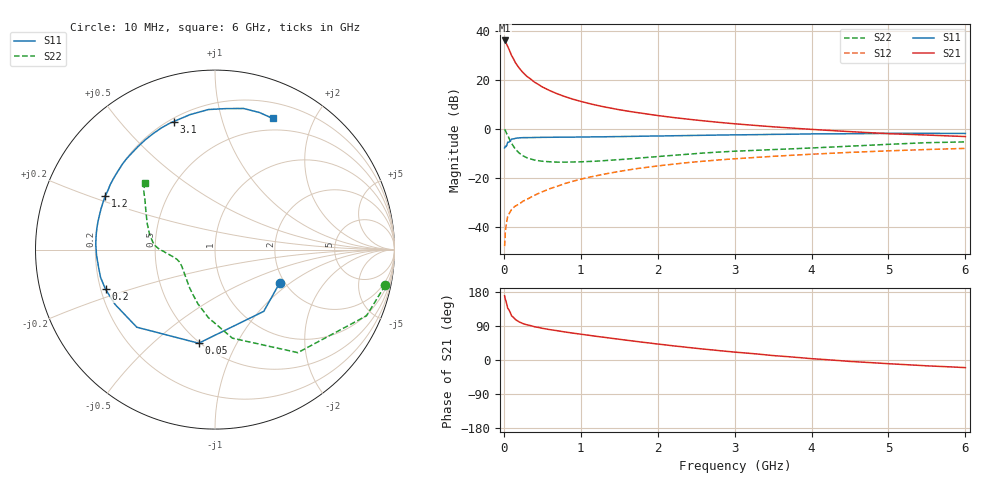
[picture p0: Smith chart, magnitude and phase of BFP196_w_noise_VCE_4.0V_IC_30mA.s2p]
! Infineon Technologies  Discrete & RF Semiconductors
! BFP196
! VCE =  4.0 V,  IC =  30 mA
! Common Emitter S-Parameters:  Jan 2017
# GHz  S  MA  R  50
!  f  S11  S21  S12  S22
! GHz  MAG  ANG  MAG  ANG  MAG  ANG  MAG  ANG
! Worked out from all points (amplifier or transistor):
!   77 points, 10 MHz to 6 GHz, reference 50 ohm
!   highest |S21| = 36.0 dB at 10 MHz (marker M1)
!   |S21| within 3 dB of that: start of sweep to 58.36 MHz
!   unconditionally stable (mu >= 1): 648.3 MHz to 2.387 GHz
!   at 130 MHz: K = 0.49, MSG = 30.2 dB, |S12| = -32.1 dB
!   at 2.2 GHz: K = 1.01, MAG = 8.8 dB, |S12| = -14.5 dB
!   at 6 GHz: K = 0.95, MSG = 2.4 dB, |S12| = -8.1 dB
!   lowest NFmin = 1.22 dB at 450 MHz
!   S11 on the Smith chart (normalised r, x): 10 MHz: 1.88, -0.84; 50 MHz: 0.49, -0.71; 200 MHz: 0.22, -0.17; 1.2 GHz: 0.20, +0.22; 3.1 GHz: 0.22, +0.71; 6 GHz: 0.37, +1.47
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0.01  0.4053 -27.4  63.06 169.4  0.004 82.2  0.9685 -11.9
0.02  0.4384 -51.7  60.94 159.8  0.0081 76.9  0.9212 -23.6
0.05  0.5295 -99.9  47.69 136.8  0.0161 57.1  0.7367 -51.2
0.1  0.6139 -135.2  31.26 116.6  0.0224 50.3  0.5028 -78.9
0.15  0.6348 -151.2  22.27 106.8  0.0264 48.1  0.3813 -95.5
0.2  0.6488 -160.1  17.16 100.5  0.0289 50.0  0.3174 -107.4
0.25  0.656 -166.3  13.9 96.0  0.0332 51.3  0.2787 -116.2
0.3  0.6562 -170.8  11.67 92.9  0.036 53.8  0.2551 -123.8
0.4  0.6608 -177.3  8.855 87.7  0.0438 57.7  0.2283 -134.3
0.5  0.665 177.4  7.099 83.7  0.0515 59.5  0.2163 -142.0
0.6  0.6669 173.3  5.95 80.1  0.0597 60.9  0.2109 -147.9
0.7  0.669 169.7  5.108 77.1  0.0672 62.1  0.207 -152.5
0.9  0.672 162.9  3.983 70.9  0.0846 61.9  0.2089 -158.6
1.1  0.6775 156.8  3.283 65.4  0.1014 61.4  0.2138 -163.1
1.2  0.6807 153.9  3.016 62.5  0.1091 60.3  0.2168 -165.0
1.6  0.6932 142.7  2.293 52.1  0.1423 56.6  0.2394 -170.8
2.1  0.7116 129.5  1.771 39.9  0.1809 50.7  0.2774 -176.7
2.6  0.7326 118.0  1.442 28.7  0.2172 44.4  0.3186 178.4
3.1  0.7495 107.9  1.222 19.2  0.2485 38.1  0.3518 172.3
4.1  0.7817 91.2  0.946 2.2  0.3062 26.2  0.4103 157.5
5.1  0.8016 77.2  0.78 -10.9  0.357 14.7  0.4862 143.7
6  0.7984 66.2  0.69 -20.1  0.3958 4.7  0.5369 136.2
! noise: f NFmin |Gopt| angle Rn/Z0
0.45  1.22  0.34  169  0.05
0.9  1.38  0.45  -172  0.06
1.9  2.24  0.68  -135  0.25
2.4  2.64  0.71  -121  0.6
